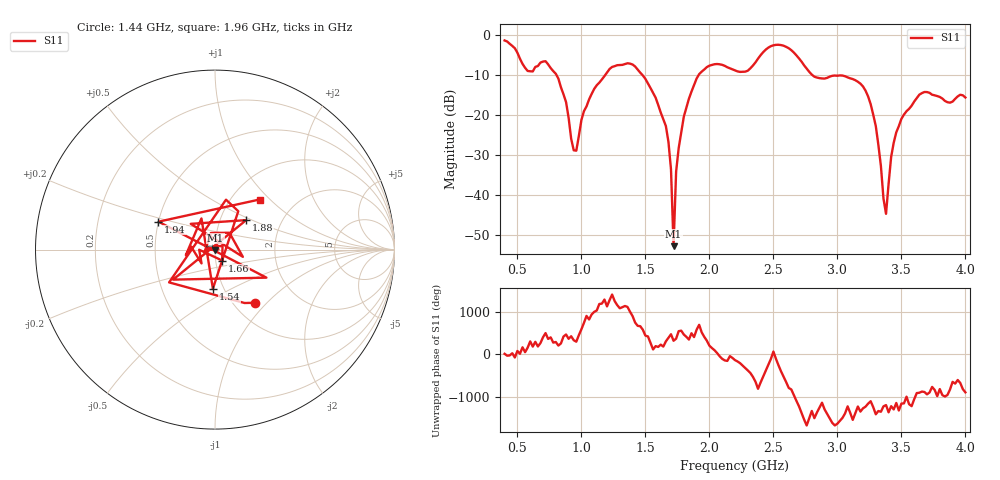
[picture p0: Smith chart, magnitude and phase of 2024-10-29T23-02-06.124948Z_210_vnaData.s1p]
!Created with skrf (http://scikit-rf.org).
# Hz S RI R 50.0
!freq ReS11 ImS11
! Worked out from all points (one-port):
!   181 points, 400 MHz to 4 GHz, reference 50 ohm
!   lowest |S11| = -52.9 dB at 1.72 GHz (marker M1), VSWR 1.00, Z = 50.2 - j0.154 ohm
!   |S11| at or under -10 dB: 806.1 MHz to 1.185 GHz (378.6 MHz wide, 38 % of centre); 1.478 GHz to 1.915 GHz (436.6 MHz wide, 25.7 % of centre); 2.806 GHz to end of sweep
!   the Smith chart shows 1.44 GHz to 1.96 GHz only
!   S11 on the Smith chart (normalised r, x): 1.44 GHz: 1.25, -0.86; 1.54 GHz: 0.89, -0.41; 1.66 GHz: 1.07, -0.13; 1.88 GHz: 1.33, +0.46; 1.94 GHz: 0.50, +0.18; 1.96 GHz: 1.34, +0.87
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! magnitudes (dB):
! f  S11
! 400 MHz  -1.3
! 580 MHz  -8.9
! 720 MHz  -6.5
! 860 MHz  -14.8
! 960 MHz  -28.9
! 1.1 GHz  -13.4
! 1.3 GHz  -7.4
! 1.44 GHz  -8.6
! 1.54 GHz  -13.2
! 1.66 GHz  -22.8
! 1.7 GHz  -33.6
! 1.72 GHz  -52.9
! 1.74 GHz  -34.2
! 1.76 GHz  -28.3
! 1.88 GHz  -12.4
! 1.94 GHz  -9.1
! 1.96 GHz  -8.6
! 2.2 GHz  -8.8
! 2.66 GHz  -4.3
! 2.82 GHz  -10.4
! 3.1 GHz  -10.8
! 3.26 GHz  -17.3
! 3.3 GHz  -22.8
! 3.38 GHz  -44.8
! 3.44 GHz  -26.9
! 3.56 GHz  -18.4
! 3.68 GHz  -14.2
! 4 GHz  -15.6
